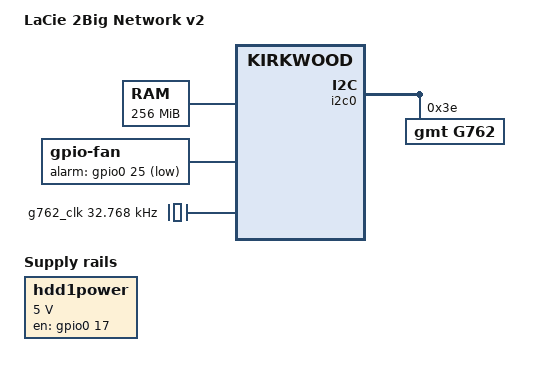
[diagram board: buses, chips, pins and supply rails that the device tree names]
/*
 * Device Tree file for LaCie 2Big Network v2
 *
 * Copyright (C) 2014
 *
 * Andrew Lunn <andrew@lunn.ch>
 *
 * Based on netxbig_v2-setup.c,
 * Copyright (C) 2010 Simon Guinot <sguinot@lacie.com>
 *
 * This file is licensed under the terms of the GNU General Public
 * License version 2.  This program is licensed "as is" without any
 * warranty of any kind, whether express or implied.
*/

/dts-v1/;

#include "kirkwood.dtsi"
#include "kirkwood-6281.dtsi"
#include "kirkwood-netxbig.dtsi"

/ {
	model = "LaCie 2Big Network v2";
	compatible = "lacie,net2big_v2", "lacie,netxbig", "marvell,kirkwood-88f6281", "marvell,kirkwood";

	memory {
		device_type = "memory";
		reg = <0x00000000 0x10000000>;
	};

	fan {
		compatible = "gpio-fan";
		alarm-gpios = <&gpio0 25 GPIO_ACTIVE_LOW>;
	};
};

&regulators {
	regulator@2 {
		compatible = "regulator-fixed";
		reg = <2>;
		regulator-name = "hdd1power";
		regulator-min-microvolt = <5000000>;
		regulator-max-microvolt = <5000000>;
		enable-active-high;
		regulator-always-on;
		regulator-boot-on;
		gpio = <&gpio0 17 GPIO_ACTIVE_HIGH>;
	};

	clocks {
	       g762_clk: g762-oscillator {
			 compatible = "fixed-clock";
			 #clock-cells = <0>;
			 clock-frequency = <32768>;
	       };
	};
};

&i2c0 {
	g762@3e {
		compatible = "gmt,g762";
		reg = <0x3e>;
		clocks = <&g762_clk>;
	};
};
